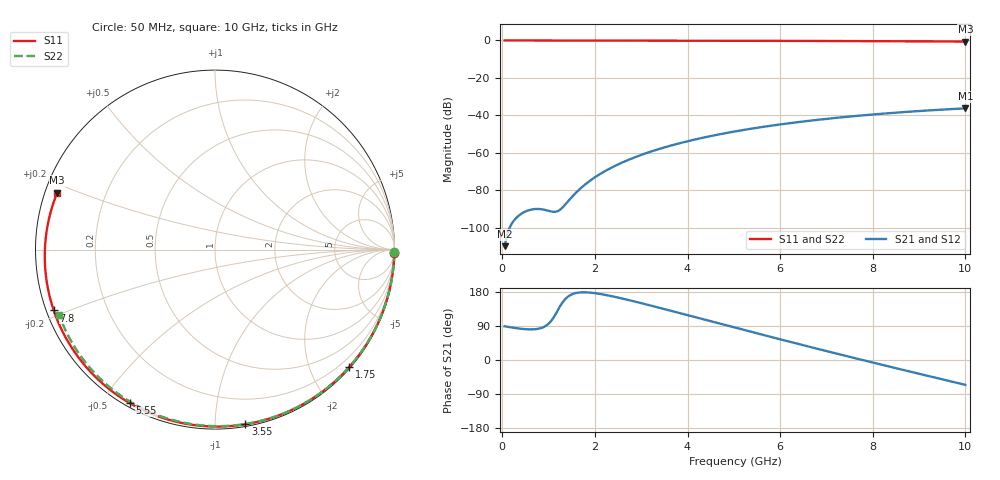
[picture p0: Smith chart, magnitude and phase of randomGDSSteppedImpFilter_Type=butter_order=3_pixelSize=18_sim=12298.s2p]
! freq	dB(S11)	phase(S11)	dB(S12)	phase(S12)
!  dB(S21)	phase(S21)	dB(S22)	phase(S22)
!S-par simulation data
#  GHz  S  DB  R 50
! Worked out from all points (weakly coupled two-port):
!   200 points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, 50 MHz to 10 GHz, reference 50 ohm
!   highest |S21| = -36.27 dB at 10 GHz (marker M1); lowest = -109.8 dB at 50 MHz (marker M2)
!   lowest |S11| = -0.6 dB at 10 GHz (marker M3), VSWR 29.60, Z = 1.74 + j8.76 ohm
!   |S11| at or under -10 dB: nowhere
!   |S22| runs from -0.5 to 0.0 dB; largest |S21 - S12| = 0
!   S11 on the Smith chart (normalised r, x): 50 MHz: 1, -98; 1.75 GHz: 0.02, -2.67; 3.55 GHz: 0.01, -1.19; 5.55 GHz: 0.01, -0.59; 7.8 GHz: 0.02, -0.18; 10 GHz: 0.03, +0.18
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0.05  -0.00 -1.2  -109.84 88.9  -109.84 88.9  -0.00 -0.9
0.45  -0.02 -10.7  -91.93 81.8  -91.93 81.8  -0.01 -8.1
0.8  -0.02 -19.1  -90.01 83.0  -90.01 83.0  -0.02 -14.5
1.2  -0.04 -28.5  -91.11 131.5  -91.11 131.5  -0.03 -21.6
1.6  -0.05 -37.7  -81.07 177.0  -81.07 177.0  -0.04 -28.7
1.65  -0.05 -38.9  -79.88 178.0  -79.88 178.0  -0.04 -29.6
1.75  -0.05 -41.1  -77.69 178.7  -77.69 178.7  -0.04 -31.4
2.05  -0.06 -47.9  -72.26 175.5  -72.26 175.5  -0.05 -36.6
2.45  -0.07 -56.8  -66.78 166.1  -66.78 166.1  -0.06 -43.5
2.9  -0.09 -66.5  -62.03 153.1  -62.03 153.1  -0.07 -51.1
3.4  -0.10 -77.1  -57.85 137.6  -57.85 137.6  -0.08 -59.5
3.55  -0.11 -80.1  -56.75 132.8  -56.75 132.8  -0.08 -61.9
4.3  -0.13 -95.2  -52.11 108.8  -52.11 108.8  -0.11 -74.0
5.05  -0.17 -109.6  -48.47 84.7  -48.47 84.7  -0.13 -85.7
5.55  -0.19 -119.0  -46.44 68.8  -46.44 68.8  -0.15 -93.3
6.15  -0.23 -129.9  -44.35 49.9  -44.35 49.9  -0.18 -102.2
6.7  -0.26 -139.8  -42.69 32.8  -42.69 32.8  -0.22 -110.3
7.25  -0.31 -149.6  -41.23 16.0  -41.23 16.0  -0.25 -118.2
7.8  -0.35 -159.3  -39.95 -0.7  -39.95 -0.7  -0.29 -126.0
8.35  -0.40 -169.2  -38.83 -17.1  -38.83 -17.1  -0.34 -133.7
9.2  -0.49 175.3  -37.37 -42.2  -37.37 -42.2  -0.43 -145.7
10  -0.59 160.1  -36.27 -65.6  -36.27 -65.6  -0.53 -157.1
